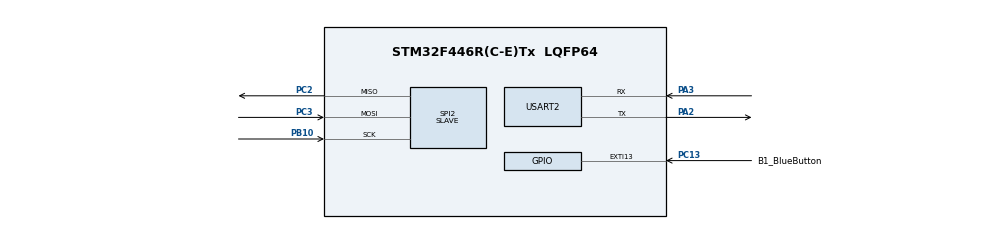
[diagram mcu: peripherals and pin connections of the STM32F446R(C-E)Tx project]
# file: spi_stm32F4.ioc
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Mcu.Family=STM32F4
PC3.Mode=Full_Duplex_Slave
RCC.CortexFreq_Value=16000000
SPI2.VirtualType=VM_SLAVE
PB10.Mode=Full_Duplex_Slave
PC13.Signal=GPXTI13
PC2.Signal=SPI2_MISO
PC2.Mode=Full_Duplex_Slave
PC13.GPIO_Label=B1_BlueButton
ProjectManager.StackSize=0x400
PA3.Mode=Asynchronous
ProjectManager.TargetToolchain=STM32CubeIDE
PC3.Signal=SPI2_MOSI
RCC.USBFreq_Value=96000000
PB10.Signal=SPI2_SCK
NVIC.EXTI15_10_IRQn=true\:0\:0\:false\:false\:true\:true\:true
board=custom
RCC.VCOOutputFreq_Value=192000000
Mcu.Name=STM32F446R(C-E)Tx
PA2.Signal=USART2_TX
Mcu.Package=LQFP64
SPI2.Mode=SPI_MODE_SLAVE
PC13.GPIO_ModeDefaultEXTI=GPIO_MODE_IT_RISING_FALLING
USART2.VirtualMode=VM_ASYNC
ProjectManager.HeapSize=0x200
NVIC.PriorityGroup=NVIC_PRIORITYGROUP_4
PA2.Mode=Asynchronous
SPI2.Direction=SPI_DIRECTION_2LINES
PB12.Signal=SPI2_NSS
PA3.Signal=USART2_RX

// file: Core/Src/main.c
/* USER CODE BEGIN Header */
/**
  ******************************************************************************
  * @file           : main.c
  * @brief          : Main program body
  ******************************************************************************
  * @attention
  *
  * <h2><center>&copy; Copyright (c) 2020 STMicroelectronics.
  * All rights reserved.</center></h2>
  *
  * This software component is licensed by ST under BSD 3-Clause license,
  * the "License"; You may not use this file except in compliance with the
  * License. You may obtain a copy of the License at:
  *                        opensource.org/licenses/BSD-3-Clause
  *
  ******************************************************************************
  */
/* USER CODE END Header */
#include "main.h"

/* USER CODE BEGIN Includes */

#include "Lib_PedagoBot_TP9.h"
#include "spi_link.h"
#include <stdio.h> // Pour l'utilisation de printf

/* USER CODE END Includes */

SPI_HandleTypeDef hspi2;

UART_HandleTypeDef huart2;

//void SystemClock_Config(void);
static void MX_GPIO_Init(void);
static void MX_SPI2_Init(void);
static void MX_USART2_UART_Init(void);

/* USER CODE BEGIN 0 */

// Redéfinition de la fonction write pour rediriger le printf sur l'uart2
int _write(int file, unsigned char *ptr, int len)
{
	int i = 0;
	for (i = 0; i < len;i++)
	{
		//ITM_SendChar((*ptr++));
		HAL_UART_Transmit(&huart2, (ptr++),1,0xFFFF);
	}
	return len;
}

int main(void)
{
	init_PedagoBot_TP9();
	MX_GPIO_Init();
	MX_SPI2_Init();
	MX_USART2_UART_Init();
	printf("\n\rinit PedagoBot ok\n\r");
	spiLoop();
}

/* USER CODE END 0 */

static void MX_SPI2_Init(void)
{

  /* SPI2 parameter configuration*/
  hspi2.Instance = SPI2;
  hspi2.Init.Mode = SPI_MODE_SLAVE;
  hspi2.Init.Direction = SPI_DIRECTION_2LINES;
  hspi2.Init.DataSize = SPI_DATASIZE_8BIT;
  hspi2.Init.CLKPolarity = SPI_POLARITY_LOW;
  hspi2.Init.CLKPhase = SPI_PHASE_1EDGE;
  hspi2.Init.NSS = SPI_NSS_SOFT;
  hspi2.Init.FirstBit = SPI_FIRSTBIT_MSB;
  hspi2.Init.TIMode = SPI_TIMODE_DISABLE;
  hspi2.Init.CRCCalculation = SPI_CRCCALCULATION_DISABLE;
  hspi2.Init.CRCPolynomial = 10;
  if (HAL_SPI_Init(&hspi2) != HAL_OK)
  {
    Error_Handler();
  }

}

static void MX_USART2_UART_Init(void)
{

  huart2.Instance = USART2;
  huart2.Init.BaudRate = 115200;
  huart2.Init.WordLength = UART_WORDLENGTH_8B;
  huart2.Init.StopBits = UART_STOPBITS_1;
  huart2.Init.Parity = UART_PARITY_NONE;
  huart2.Init.Mode = UART_MODE_TX_RX;
  huart2.Init.HwFlowCtl = UART_HWCONTROL_NONE;
  huart2.Init.OverSampling = UART_OVERSAMPLING_16;
  if (HAL_UART_Init(&huart2) != HAL_OK)
  {
    Error_Handler();
  }

}

static void MX_GPIO_Init(void)
{
  GPIO_InitTypeDef GPIO_InitStruct = {0};

  /* GPIO Ports Clock Enable */
  __HAL_RCC_GPIOC_CLK_ENABLE();
  __HAL_RCC_GPIOA_CLK_ENABLE();
  __HAL_RCC_GPIOB_CLK_ENABLE();

  /*Configure GPIO pin : B1_BlueButton_Pin */
  GPIO_InitStruct.Pin = B1_BlueButton_Pin;
  GPIO_InitStruct.Mode = GPIO_MODE_IT_RISING_FALLING;
  GPIO_InitStruct.Pull = GPIO_NOPULL;
  HAL_GPIO_Init(B1_BlueButton_GPIO_Port, &GPIO_InitStruct);

  /* EXTI interrupt init*/
  HAL_NVIC_SetPriority(EXTI15_10_IRQn, 0, 0);
  HAL_NVIC_EnableIRQ(EXTI15_10_IRQn);

}

void Error_Handler(void)
{
  __disable_irq();
  while (1)
  {
  }
}

/************************ (C) COPYRIGHT STMicroelectronics *****END OF FILE****/
